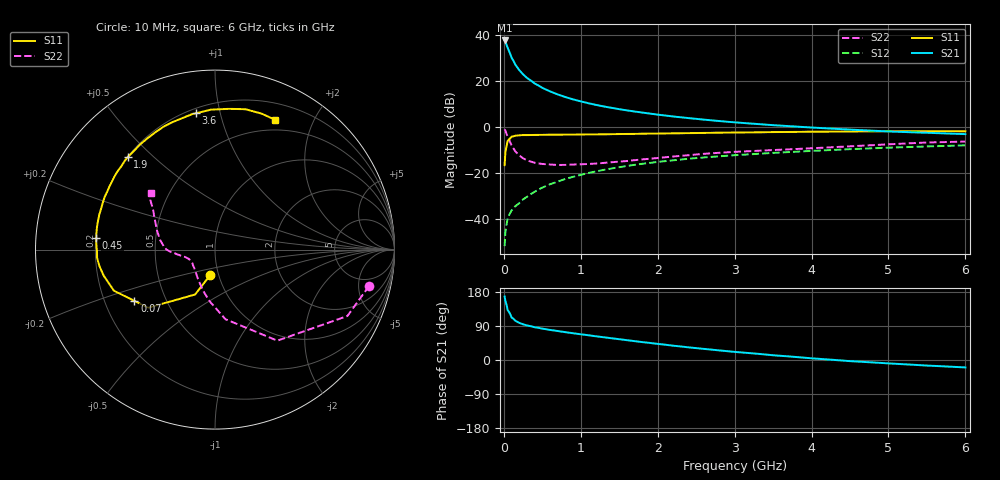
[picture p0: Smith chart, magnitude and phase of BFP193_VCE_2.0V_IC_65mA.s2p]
! (c) 2017  Infineon Technologies AG, Munich
! Infineon Technologies  Discrete & RF Semiconductors
! BFP193
! VCE =  2.0 V,  IC =  65 mA
! Common Emitter S-Parameters:  Jan 2017
# GHz  S  MA  R  50
!  f  S11  S21  S12  S22
! GHz  MAG  ANG  MAG  ANG  MAG  ANG  MAG  ANG
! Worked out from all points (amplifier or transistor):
!   77 points, 10 MHz to 6 GHz, reference 50 ohm
!   highest |S21| = 37.6 dB at 10 MHz (marker M1)
!   |S21| within 3 dB of that: start of sweep to 47.06 MHz
!   unconditionally stable (mu >= 1): 365.4 MHz to 2.537 GHz
!   at 130 MHz: K = 0.73, MSG = 31.9 dB, |S12| = -35.3 dB
!   at 2.2 GHz: K = 1.02, MAG = 8.8 dB, |S12| = -14.6 dB
!   at 6 GHz: K = 0.95, MSG = 2.4 dB, |S12| = -8.1 dB
!   S11 on the Smith chart (normalised r, x): 10 MHz: 0.91, -0.27; 70 MHz: 0.33, -0.26; 450 MHz: 0.20, +0.05; 1.9 GHz: 0.20, +0.42; 3.6 GHz: 0.23, +0.84; 6 GHz: 0.38, +1.49
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0.01  0.1458 -100.8  75.87 167.4  0.0025 82.7  0.8819 -13.3
0.02  0.2734 -113.9  71.84 156.1  0.005 76.8  0.8255 -26.6
0.05  0.4931 -138.9  52.23 131.3  0.0101 59.5  0.615 -55.6
0.07  0.5319 -147.5  43.69 125.8  0.012 59.2  0.5149 -63.2
0.1  0.6083 -157.9  32.14 112.3  0.0149 58.8  0.3925 -81.4
0.15  0.6372 -166.9  22.48 103.5  0.0186 60.3  0.2893 -96.0
0.2  0.6507 -172.0  17.18 98.1  0.0216 64.0  0.2368 -106.6
0.25  0.6585 -176.0  13.86 94.1  0.0262 65.1  0.2057 -114.3
0.3  0.6575 -178.8  11.61 91.3  0.0297 66.2  0.1858 -121.4
0.4  0.6632 176.5  8.785 86.5  0.0383 69.5  0.1643 -131.2
0.45  0.6645 174.5  7.909 84.9  0.0427 69.7  0.1591 -134.8
0.6  0.6697 169.1  5.898 79.4  0.0559 69.8  0.1504 -144.8
0.7  0.6711 166.2  5.061 76.5  0.0637 69.9  0.147 -149.0
0.9  0.6744 160.1  3.944 70.6  0.081 68.5  0.15 -155.1
1.1  0.6811 154.5  3.254 65.3  0.0985 66.7  0.1545 -159.9
1.9  0.7093 133.2  1.934 45.0  0.1632 56.6  0.201 -171.4
2.1  0.7138 128.0  1.755 40.3  0.1782 53.7  0.2165 -173.5
3.1  0.7503 106.8  1.212 19.8  0.2453 40.3  0.2891 175.4
3.6  0.767 98.0  1.057 11.0  0.2747 34.2  0.3159 168.3
4.1  0.7807 90.1  0.942 3.0  0.3028 28.1  0.3463 160.1
5.1  0.7995 76.4  0.779 -10.1  0.3539 16.2  0.422 145.8
6  0.7971 65.3  0.691 -19.7  0.3934 6.0  0.4752 138.7
